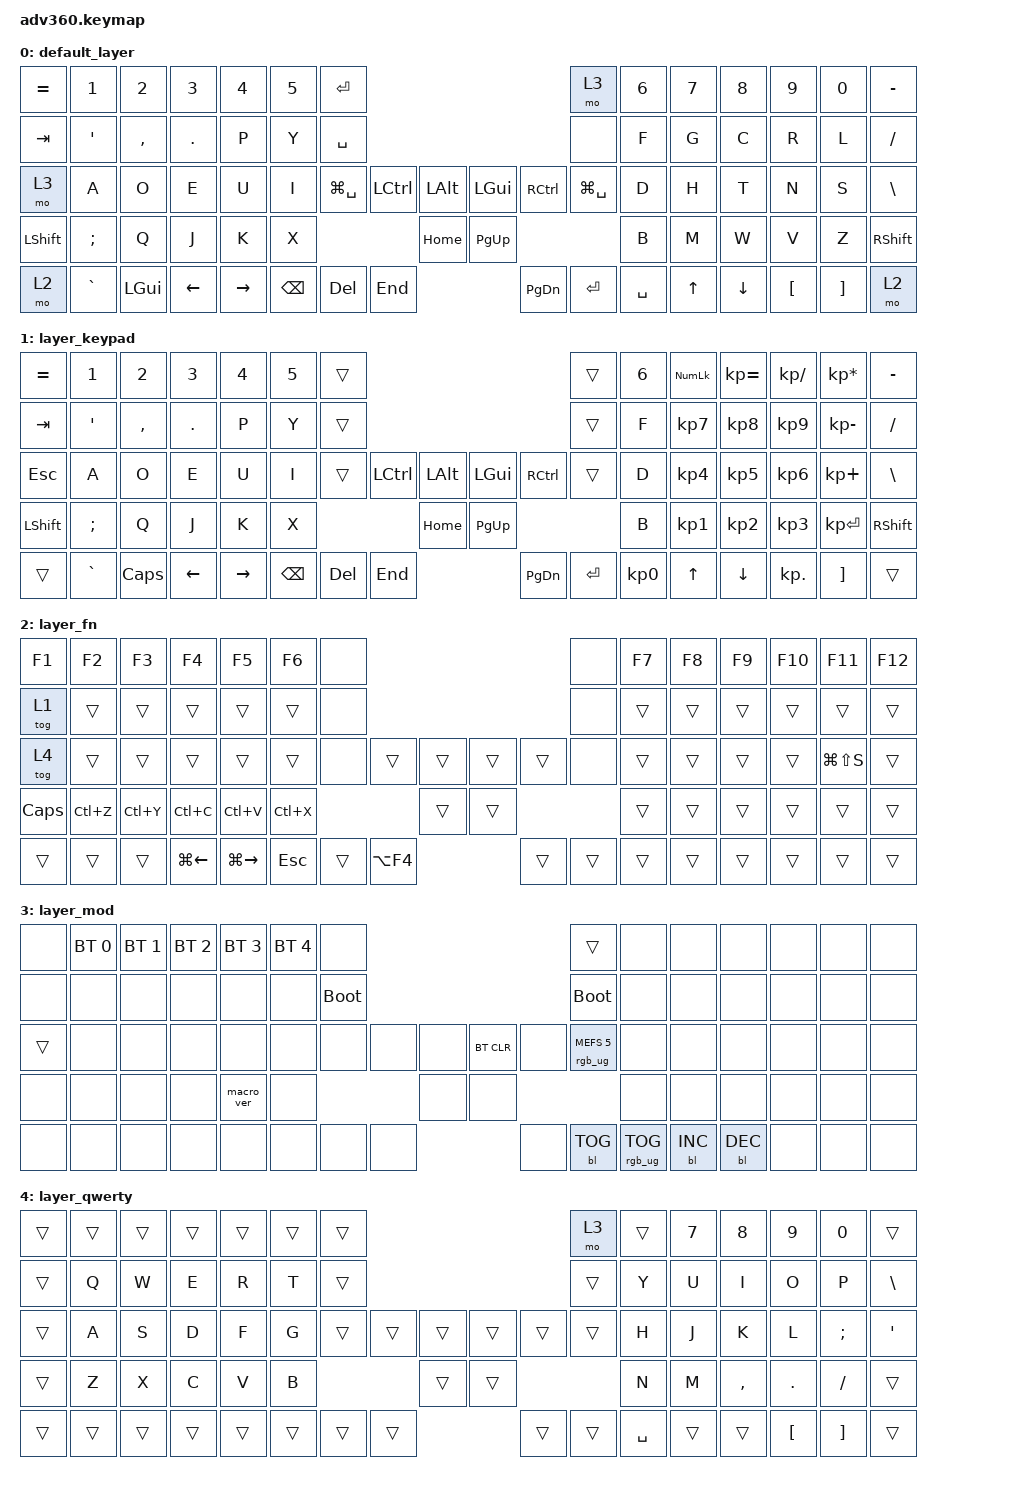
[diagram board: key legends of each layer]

   #include <behaviors.dtsi>
   #include <dt-bindings/zmk/keys.h>
   #include <dt-bindings/zmk/bt.h>
   #include <dt-bindings/zmk/rgb.h>
   #include <dt-bindings/zmk/backlight.h>

/ {
 behaviors {  
            #include "macros.dtsi"      /* each include must have it's own dedicated line */
            #include "version.dtsi"
            hm: homerow_mods {   compatible = "zmk,behavior-hold-tap";
                                 label = "HOMEROW_MODS";
                                 #binding-cells = <2>;
                                 tapping-term-ms = <200>;
                                 quick_tap_ms = <175>;
                                 flavor = "tap-preferred";
                                 bindings = <&kp>, <&kp>;
                              };

            macro_mainbox: macro_mainbox  {  compatible = "zmk,behavior-macro"; 
                                             label = "macro_mainbox";   
                                             #binding-cells = <0>;
                                             bindings = <&bt BT_SEL 0>, <&tog 4>;      //Mod+1 (Machine 1), toggle to layer 1 (Dvorak)
                                          };
            macro_sawbox: macro_sawbox    {  compatible = "zmk,behavior-macro"; 
                                             label = "macro_sawbox";   
                                             #binding-cells = <0>;
                                             bindings = <&bt BT_SEL 1>;                //Mod+2 (Machine 2)
                                          };

            macro_gamebox: macro_gamebox  {  compatible = "zmk,behavior-macro"; 
                                             label = "macro_gamebox";   
                                             #binding-cells = <0>;
                                             bindings = <&bt BT_SEL 3>, <&tog 4>;     //Mod+3 (Machine 4), toggle to layer 4 (Qwerty)
                                          };
           };

 combos    {    
                compatible = "zmk,combos";
                combo_copy        { timeout-ms = <1000>;  key-positions = <35  6>;  bindings = <&kp LC(C)>;           };  // L-Ctrl-kp  --> Ctrl-C (Copy)   
                combo_cut         { timeout-ms = <1000>;  key-positions = <35 20>;  bindings = <&kp LC(X)>;           };  // L-Alt -kp  --> Ctrl-X (Cut)    
                combo_paste       { timeout-ms = <1000>;  key-positions = <36  6>;  bindings = <&kp LC(V)>;           };  // L-Ctrl-hk1 --> Ctrl-V (Paste)  
                combo_mainbox     { timeout-ms = <1000>;  key-positions = <0 4>;    bindings = <&macro_mainbox>;      };  // =+4        --> Mod+1 (Machine 1), Dvorak 
                combo_gamebox     { timeout-ms = <1000>;  key-positions = <0 5>;    bindings = <&macro_gamebox>;      };  // =+5        --> Mod+4 (Machine 4), Qwerty
                combo_sawbox      { timeout-ms = <1000>;  key-positions = <0 2>;    bindings = <&macro_sawbox>;       };  // =+2        --> Mod+2 (Machine 2)
                combo_screenshot  { timeout-ms = <1000>;  key-positions = <34  0>;  bindings = <&kp LG(LS(S))>;       };  // hk2 - +    --> Screenshot (Win-Sht-S)
                combo_snipping    { timeout-ms = <1000>;  key-positions = <34  1>;  bindings = <&macro_snippingtool>; };  // hk2 - 1    --> launch Snippingtool

             // combo_showqueued  { timeout-ms = <1000>;  key-positions = <34 15>;  bindings = <&macro_showqueued>;   }; 
             // combo_togInput    { timeout-ms = <50>;    key-positions = <20 34>;  bindings = <&kp LG(SPACE)>;       }; 
             // combo_sw_input2   { timeout-ms = <1000>;  key-positions = <37 21>;  bindings = <&kp LG(SPACE)>;       };  // R-Win-hk3  --> Toggle language from right hand
             // combo_btsel0      { timeout-ms = <1000>;  key-positions = <36 20>;  bindings = <&bt BT_SEL 0>;        };  // L-Alt-hk1  --> Mod 1 (Machine 1)
             // combo_btsel3      { timeout-ms = <1000>;  key-positions = <36 34>;  bindings = <&bt BT_SEL 3>;        };  // L-Alt-hk2  --> Mod 4 (Machine 4)
           };



  
keymap {compatible = "zmk,keymap";    /* &macro_fontcali     &macro_snippingtool */

default_layer { bindings = <                                                                                                                                                                                                                                       
  &kp EQUAL  &kp N1           &kp N2       &kp N3       &kp N4       &kp N5       &kp ENTER                                                                  &mo 3                  &kp N6  &kp N7     &kp N8       &kp N9           &kp N0            &kp MINUS
  &kp TAB    &kp SINGLE_QUOTE &kp COMMA    &kp DOT      &kp P        &kp Y        &kp SPACE                                                                  &none                  &kp F   &kp G      &kp C        &kp R            &kp L             &kp FSLH
  &mo 3      &kp A            &kp O        &kp E        &kp U        &kp I        &kp LG(SPACE)      &kp LCTRL &kp LALT   &kp LGUI   &kp RCTRL               &kp LG(SPACE)          &kp D   &kp H      &kp T        &kp N            &kp S             &kp BACKSLASH
  &kp LSHFT  &kp SEMICOLON    &kp Q        &kp J        &kp K        &kp X                                     &kp HOME   &kp PG_UP                                                 &kp B   &kp M      &kp W        &kp V            &kp Z             &kp RSHFT
  &mo 2      &kp GRAVE        &kp LGUI     &kp LEFT     &kp RIGHT                           &kp BSPC &kp DEL   &kp END    &kp PG_DN  &kp ENTER  &kp SPACE                                   &kp UP     &kp DOWN     &kp LBKT         &kp RBKT          &mo 2
                                                                                                                                                                                                                                                                  >; };
layer_keypad { bindings = <                                                                                                                                                                                                                                   
  &kp EQUAL  &kp N1           &kp N2       &kp N3       &kp N4       &kp N5       &trans                                                                     &trans                 &kp N6  &kp KP_NUM &kp KP_EQUAL &kp KP_DIVIDE    &kp KP_MULTIPLY   &kp MINUS
  &kp TAB    &kp SINGLE_QUOTE &kp COMMA    &kp DOT      &kp P        &kp Y        &trans                                                                     &trans                 &kp F   &kp KP_N7  &kp KP_N8    &kp KP_N9        &kp KP_MINUS      &kp SLASH
  &kp ESC    &kp A            &kp O        &kp E        &kp U        &kp I        &trans             &kp LCTRL &kp LALT   &kp LGUI   &kp RCTRL               &trans                 &kp D   &kp KP_N4  &kp KP_N5    &kp KP_N6        &kp KP_PLUS       &kp BACKSLASH
  &kp LSHFT  &kp SEMICOLON    &kp Q        &kp J        &kp K        &kp X                                     &kp HOME   &kp PG_UP                                                 &kp B   &kp KP_N1  &kp KP_N2    &kp KP_N3        &kp KP_ENTER      &kp RSHFT
  &trans     &kp GRAVE        &kp CAPS     &kp LEFT     &kp RIGHT                           &kp BSPC &kp DEL   &kp END    &kp PG_DN  &kp ENTER  &kp KP_N0                                   &kp UP     &kp DOWN     &kp KP_DOT       &kp RBKT          &trans
                                                                                                                                                                                                                                                                  >; };
layer_fn { bindings = <                                                                                                                                                                                                                                              
  &kp F1     &kp F2           &kp F3       &kp F4       &kp F5       &kp F6       &none                                                                      &none                  &kp F7  &kp F8     &kp F9       &kp F10          &kp F11           &kp F12
  &tog 1     &trans           &trans       &trans       &trans       &trans       &none                                                                      &none                  &trans  &trans     &trans       &trans           &trans            &trans
  &tog 4     &trans           &trans       &trans       &trans       &trans       &none              &trans    &trans     &trans     &trans                  &none                  &trans  &trans     &trans       &trans           &kp LG(LS(S))     &trans
  &kp CAPS   &kp LC(Z)        &kp LC(Y)    &kp LC(C)    &kp LC(V)    &kp LC(X)                                 &trans     &trans                                                    &trans  &trans     &trans       &trans           &trans            &trans
  &trans     &trans           &trans       &kp LG(LEFT) &kp LG(RIGHT)                       &kp ESC  &trans    &kp LA(F4) &trans     &trans     &trans                                      &trans     &trans       &trans           &trans            &trans
                                                                                                                                                                                                                                                                    >; };
layer_mod { bindings = <                                                                                                                                                                                                                                                 
  &none      &bt BT_SEL 0     &bt BT_SEL 1 &bt BT_SEL 2 &bt BT_SEL 3 &bt BT_SEL 4 &none                                                                      &trans                 &none   &none      &none        &none            &none             &none
  &none      &none            &none        &none        &none        &none        &bootloader                                                                &bootloader            &none   &none      &none        &none            &none             &none
  &trans     &none            &none        &none        &none        &none        &none              &none     &none      &bt BT_CLR &none                   &rgb_ug RGB_MEFS_CMD 5 &none   &none      &none        &none            &none             &none
  &none      &none            &none        &none        &macro_ver   &none                                     &none      &none                                                     &none   &none      &none        &none            &none             &none
  &none      &none            &none        &none        &none                               &none    &none     &none      &none      &bl BL_TOG &rgb_ug RGB_TOG                             &bl BL_INC &bl BL_DEC   &none            &none             &none
                                                                                                                                                                                                                                                                   >; };
layer_qwerty { bindings = <                                                                                                                                                                                                                                              
  &trans     &trans           &trans       &trans       &trans       &trans       &trans                                                                     &mo 3                  &trans  &kp N7     &kp N8       &kp NUMBER_9     &kp NUMBER_0      &trans
  &trans     &kp Q            &kp W        &kp E        &kp R        &kp T        &trans                                                                     &trans                 &kp Y   &kp U      &kp I        &kp O            &kp P             &kp BSLH 
  &trans     &kp A            &kp S        &kp D        &kp F        &kp G        &trans             &trans    &trans     &trans     &trans                  &trans                 &kp H   &kp J      &kp K        &kp L            &kp SEMICOLON     &kp SINGLE_QUOTE
  &trans     &kp Z            &kp X        &kp C        &kp V        &kp B                                     &trans     &trans                                                    &kp N   &kp M      &kp COMMA    &kp DOT          &kp FSLH          &trans
  &trans     &trans           &trans       &trans       &trans                              &trans   &trans    &trans     &trans     &trans     &kp SPACE                                   &trans     &trans       &kp LEFT_BRACKET &kp RIGHT_BRACKET &trans
                                                                                                                                                                                                                                                                    >; };

 };
};
